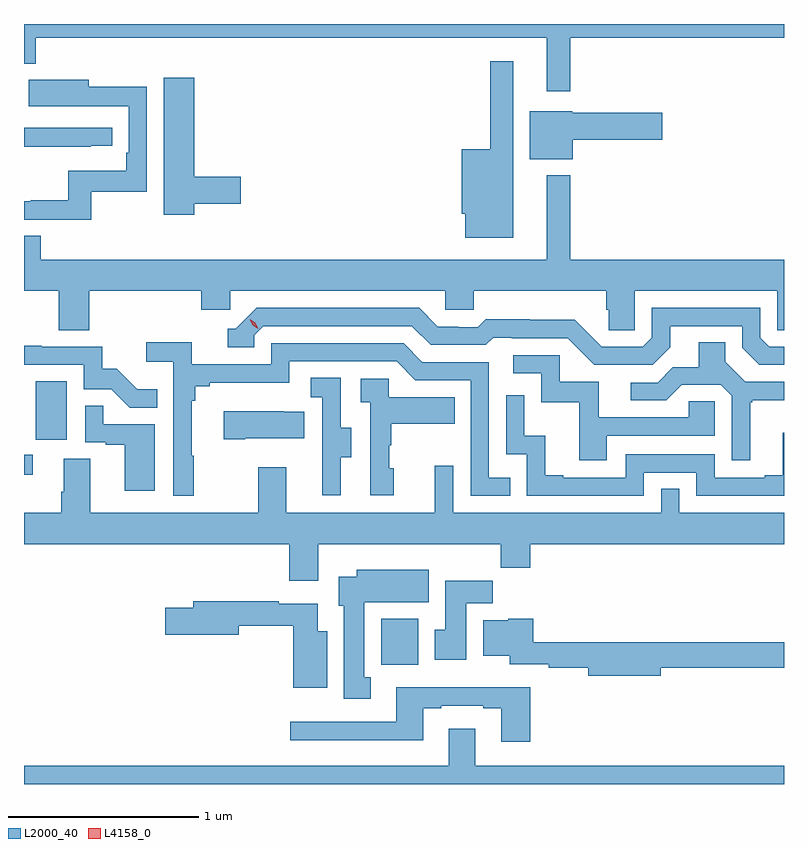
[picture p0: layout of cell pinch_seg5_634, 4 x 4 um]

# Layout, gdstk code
import gdstk
lib = gdstk.Library(unit=1e-6, precision=1e-09)
def R(c, l, rs):  # rectangles x0, y0, x1, y1
    for r in rs: c.add(gdstk.rectangle(r[:2], r[2:], *l))
def P(c, l, *ps):  # polygons
    for p in ps: c.add(gdstk.Polygon(p, *l))
L2000_40 = (2000, 40)
L4158_0 = (4158, 0)

pinch_seg5_634 = lib.new_cell('pinch_seg5_634')
R(pinch_seg5_634, L2000_40, [(1059.8,856.124,1059.997,856.366), (1057.921,857.124,1057.966,857.229), (1057.982,857.31,1058.146,857.617)])
P(pinch_seg5_634, L2000_40, [(1060.795,859.424),(1061.921,859.424),(1061.921,859.497),(1057.921,859.497),(1057.921,859.289),(1057.982,859.289),(1057.982,859.424),(1060.673,859.424),(1060.673,859.143),(1060.795,859.143)],
  [(1060.495,859.3),(1060.374,859.3),(1060.374,858.838),(1060.226,858.838),(1060.226,858.498),(1060.244,858.498),(1060.244,858.371),(1060.495,858.371)],
  [(1058.818,858.55),(1059.061,858.55),(1059.061,858.692),(1058.818,858.692),(1058.818,859.213),(1058.657,859.213),(1058.657,858.492),(1058.818,858.492)],
  [(1058.275,858.615),(1058.568,858.615),(1058.568,859.166),(1058.263,859.166),(1058.263,859.204),(1057.945,859.204),(1057.945,859.064),(1058.159,859.064),(1058.159,859.065),(1058.472,859.065),(1058.472,858.82),(1058.459,858.82),(1058.459,858.724),(1058.154,858.724),(1058.154,858.569),(1057.957,858.569),(1057.957,858.564),(1057.921,858.564),(1057.921,858.468),(1058.275,858.468)],
  [(1060.81,858.887),(1061.281,858.887),(1061.281,859.029),(1060.806,859.029),(1060.806,859.039),(1060.583,859.039),(1060.583,858.785),(1060.81,858.785)],
  [(1058.273,858.855),(1058.386,858.855),(1058.386,858.951),(1057.921,858.951),(1057.921,858.85),(1058.273,858.85)],
  [(1058.264,858.092),(1058.855,858.092),(1058.855,857.994),(1059.006,857.994),(1059.006,858.092),(1060.137,858.092),(1060.137,857.994),(1060.287,857.994),(1060.287,858.092),(1060.985,858.092),(1060.985,857.994),(1060.999,857.994),(1060.999,857.884),(1061.136,857.884),(1061.136,858.092),(1061.886,858.092),(1061.886,857.884),(1061.921,857.884),(1061.921,858.256),(1060.795,858.256),(1060.795,858.7),(1060.673,858.7),(1060.673,858.256),(1058.009,858.256),(1058.009,858.383),(1057.921,858.383),(1057.921,858.092),(1058.104,858.092),(1058.104,857.884),(1058.264,857.884)],
  [(1061.323,857.797),(1061.323,857.907),(1061.7,857.907),(1061.7,857.793),(1061.79,857.703),(1061.921,857.703),(1061.921,857.799),(1061.844,857.799),(1061.796,857.847),(1061.796,858.003),(1061.226,858.003),(1061.226,857.847),(1061.178,857.799),(1060.962,857.799),(1060.82,857.941),(1060.584,857.941),(1060.584,857.944),(1060.351,857.944),(1060.309,857.901),(1060.206,857.901),(1060.206,857.904),(1060.099,857.904),(1060,858.003),(1059.147,858.003),(1059.036,857.892),(1058.993,857.892),(1058.993,857.796),(1059.132,857.796),(1059.132,857.859),(1059.18,857.907),(1059.963,857.907),(1060.062,857.808),(1060.351,857.808),(1060.39,857.847),(1060.489,857.847),(1060.489,857.844),(1060.782,857.844),(1060.923,857.703),(1061.229,857.703)],
  [(1058.815,857.225),(1058.803,857.225),(1058.803,857.513),(1058.822,857.513),(1058.822,857.59),(1058.899,857.59),(1058.899,857.609),(1059.318,857.609),(1059.318,857.721),(1059.882,857.721),(1059.981,857.622),(1060.272,857.622),(1060.272,857.013),(1060.481,857.013),(1060.481,857.109),(1060.368,857.109),(1060.368,857.718),(1060.018,857.718),(1059.919,857.817),(1059.222,857.817),(1059.222,857.706),(1058.804,857.706),(1058.804,857.822),(1058.565,857.822),(1058.565,857.72),(1058.706,857.72),(1058.706,857.013),(1058.815,857.013)],
  [(1061.743,857.505),(1061.755,857.505),(1061.755,857.516),(1061.921,857.516),(1061.921,857.613),(1061.718,857.613),(1061.611,857.72),(1061.611,857.822),(1061.471,857.822),(1061.471,857.69),(1061.336,857.69),(1061.256,857.61),(1061.115,857.61),(1061.115,857.517),(1061.302,857.517),(1061.383,857.598),(1061.589,857.598),(1061.646,857.541),(1061.646,857.202),(1061.743,857.202)],
  [(1058.621,857.575),(1058.517,857.575),(1058.41,857.682),(1058.334,857.682),(1058.334,857.799),(1058.015,857.799),(1058.015,857.804),(1057.921,857.804),(1057.921,857.703),(1058.235,857.703),(1058.235,857.574),(1058.379,857.574),(1058.477,857.476),(1058.621,857.476)],
  [(1060.987,857.331),(1061.556,857.331),(1061.556,857.511),(1061.419,857.511),(1061.419,857.427),(1060.945,857.427),(1060.945,857.613),(1060.74,857.613),(1060.74,857.754),(1060.497,857.754),(1060.497,857.658),(1060.644,857.658),(1060.644,857.505),(1060.843,857.505),(1060.843,857.202),(1060.987,857.202)],
  [(1059.589,857.218),(1059.643,857.218),(1059.643,857.373),(1059.588,857.373),(1059.588,857.636),(1059.429,857.636),(1059.429,857.533),(1059.492,857.533),(1059.492,857.229),(1059.491,857.229),(1059.491,857.016),(1059.589,857.016)],
  [(1059.868,857.16),(1059.843,857.16),(1059.843,857.279),(1059.853,857.279),(1059.853,857.393),(1060.187,857.393),(1060.187,857.533),(1059.84,857.533),(1059.84,857.631),(1059.693,857.631),(1059.693,857.507),(1059.744,857.507),(1059.744,857.016),(1059.868,857.016)],
  [(1061.184,857.136),(1061.46,857.136),(1061.46,857.013),(1061.921,857.013),(1061.921,857.347),(1061.915,857.347),(1061.915,857.122),(1061.819,857.122),(1061.819,857.109),(1061.556,857.109),(1061.556,857.232),(1061.088,857.232),(1061.088,857.109),(1060.759,857.109),(1060.759,857.122),(1060.664,857.122),(1060.664,857.33),(1060.554,857.33),(1060.554,857.542),(1060.458,857.542),(1060.458,857.232),(1060.566,857.232),(1060.566,857.013),(1061.184,857.013)],
  [(1058.608,857.391),(1058.339,857.391),(1058.339,857.489),(1058.244,857.489),(1058.244,857.295),(1058.351,857.295),(1058.351,857.283),(1058.45,857.283),(1058.45,857.04),(1058.608,857.04)],
  [(1059.085,857.318),(1059.395,857.318),(1059.395,857.455),(1059.287,857.455),(1059.287,857.458),(1058.973,857.458),(1058.973,857.311),(1059.085,857.311)],
  [(1058.129,857.21),(1058.129,857.036),(1058.117,857.036),(1058.117,856.924),(1057.921,856.924),(1057.921,856.76),(1059.317,856.76),(1059.317,856.566),(1059.469,856.566),(1059.469,856.76),(1060.429,856.76),(1060.429,856.636),(1060.586,856.636),(1060.586,856.76),(1061.921,856.76),(1061.921,856.924),(1061.37,856.924),(1061.37,857.051),(1061.274,857.051),(1061.274,856.924),(1060.179,856.924),(1060.179,857.173),(1060.082,857.173),(1060.082,856.924),(1059.301,856.924),(1059.301,857.164),(1059.154,857.164),(1059.154,856.924),(1058.269,856.924),(1058.269,857.21)],
  [(1059.745,856.058),(1059.712,856.058),(1059.712,856.454),(1060.051,856.454),(1060.051,856.624),(1059.671,856.624),(1059.671,856.588),(1059.578,856.588),(1059.578,856.434),(1059.605,856.434),(1059.605,855.945),(1059.745,855.945)],
  [(1060.249,856.448),(1060.388,856.448),(1060.388,856.566),(1060.139,856.566),(1060.139,856.308),(1060.082,856.308),(1060.082,856.152),(1060.249,856.152)],
  [(1059.517,856.3),(1059.466,856.3),(1059.466,856.446),(1059.262,856.446),(1059.262,856.459),(1058.813,856.459),(1058.813,856.425),(1058.664,856.425),(1058.664,856.283),(1059.052,856.283),(1059.052,856.33),(1059.338,856.33),(1059.338,856.004),(1059.517,856.004)],
  [(1061.272,856.108),(1061.921,856.108),(1061.921,856.244),(1060.601,856.244),(1060.601,856.366),(1060.47,856.366),(1060.47,856.36),(1060.337,856.36),(1060.337,856.172),(1060.478,856.172),(1060.478,856.128),(1060.684,856.128),(1060.684,856.108),(1060.892,856.108),(1060.892,856.066),(1061.272,856.066)],
  [(1060.586,856.006),(1059.881,856.006),(1059.881,855.825),(1059.321,855.825),(1059.321,855.728),(1060.021,855.728),(1060.021,855.897),(1060.117,855.897),(1060.117,855.909),(1060.337,855.909),(1060.337,855.897),(1060.433,855.897),(1060.433,855.72),(1060.586,855.72)],
  [(1061.921,855.592),(1060.297,855.592),(1060.297,855.787),(1060.157,855.787),(1060.157,855.592),(1057.921,855.592),(1057.921,855.497),(1061.921,855.497)])
P(pinch_seg5_634, L4158_0, [(1059.155,857.892),(1059.124,857.912),(1059.108,857.944),(1059.108,857.944),(1059.108,857.944),(1059.139,857.925),(1059.155,857.892),(1059.155,857.892)])

lib.write_gds('pinch_seg5_634.gds')
